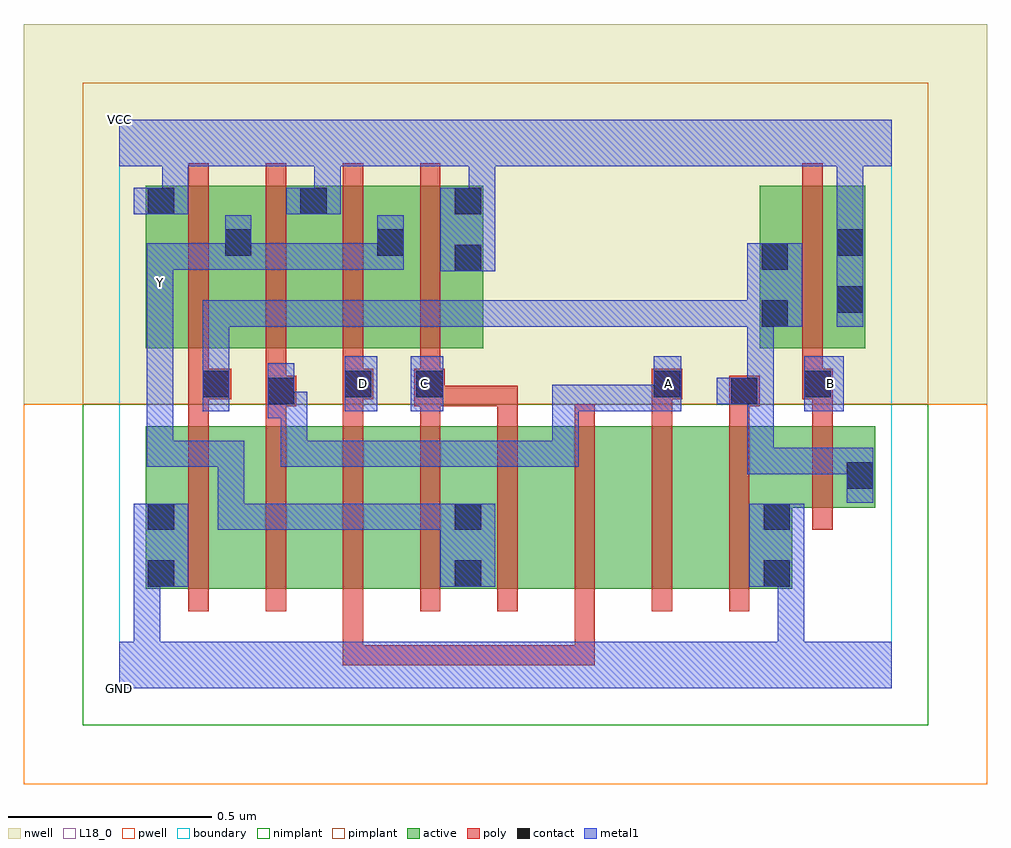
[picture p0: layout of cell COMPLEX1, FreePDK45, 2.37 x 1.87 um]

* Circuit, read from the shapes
.subckt COMPLEX1 A B C D GND VCC Y
M1 n1 n2 GND VSUBS nfet w=0.4u l=0.05u
M2 n3 A n1 VSUBS nfet w=0.4u l=0.05u
M3 n4 D n3 VSUBS nfet w=0.4u l=0.05u
M4 Y C n4 VSUBS nfet w=0.4u l=0.05u
M5 n5 C Y VSUBS nfet w=0.4u l=0.05u
M6 n6 D n5 VSUBS nfet w=0.4u l=0.05u
M7 n7 A n6 VSUBS nfet w=0.4u l=0.05u
M8 GND n2 n7 VSUBS nfet w=0.4u l=0.05u
M9 n2 B GND VSUBS nfet w=0.2u l=0.05u
M10 Y n2 VCC n8 pfet w=0.4u l=0.05u
M11 VCC A Y n8 pfet w=0.4u l=0.05u
M12 Y D VCC n8 pfet w=0.4u l=0.05u
M13 VCC C Y n8 pfet w=0.4u l=0.05u
M14 VCC B n2 n8 pfet w=0.4u l=0.05u
.ends

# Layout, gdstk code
import gdstk
lib = gdstk.Library(unit=1e-6, precision=1e-09)
def R(c, l, rs):  # rectangles x0, y0, x1, y1
    for r in rs: c.add(gdstk.rectangle(r[:2], r[2:], *l))
def A(c, l, x, y, w, h, nx, ny, dx, dy):  # array of equal rectangles
    R(c, l, [(x+i*dx, y+j*dy, x+i*dx+w, y+j*dy+h) for i in range(nx) for j in range(ny)])
active = (1, 0)
pwell = (2, 0)
nwell = (3, 0)
nimplant = (4, 0)
pimplant = (5, 0)
poly = (9, 0)
contact = (10, 0)
metal1 = (11, 0)
L18_0 = (18, 0)
boundary = (235, 0)

complex1 = lib.new_cell('COMPLEX1')
R(complex1, active, [(0.065,0.245,0.29,0.645), (0.065,0.245,0.14,0.645), (0.29,0.245,0.48,0.645), (0.48,0.245,0.67,0.645), (0.67,0.245,0.895,0.645), (0.82,0.245,1.05,0.645), (0.82,0.245,0.895,0.617), (1.05,0.245,1.24,0.645), (1.24,0.245,1.43,0.645), (1.43,0.245,1.655,0.645), (1.58,0.245,1.655,0.535), (1.58,0.445,1.86,0.645), (1.785,0.445,1.86,0.645), (0.065,0.837,0.14,1.237), (0.065,0.837,0.33,1.237), (0.255,0.837,0.515,1.237), (0.44,0.837,0.705,1.237), (0.63,0.837,0.895,1.237), (0.82,0.837,0.895,1.237), (1.575,0.837,1.835,1.237), (1.575,0.837,1.65,1.155), (1.76,0.837,1.835,1.237), (0.255,0.907,0.33,1.2), (0.44,0.907,0.515,1.237), (0.63,0.907,0.705,1.2)])
R(complex1, pwell, [(-0.235,-0.235,2.135,0.7)])
R(complex1, nwell, [(-0.235,0.7,2.135,1.635)])
R(complex1, nimplant, [(-0.09,-0.09,1.99,0.7)])
R(complex1, pimplant, [(-0.09,0.7,1.99,1.49)])
A(complex1, poly, 0.17, 0.19, 0.05, 0.51, 8, 1, 0.19, 0)
A(complex1, poly, 0.17, 0.782, 0.05, 0.51, 4, 1, 0.19, 0)
R(complex1, poly, [(0.55,0.057,0.6,0.24), (0.55,0.057,0.6,0.107), (0.55,0.057,0.6,0.107), (0.55,0.057,0.6,0.107), (0.55,0.057,0.8,0.107), (0.75,0.057,0.8,0.107), (0.75,0.057,0.932,0.107), (0.882,0.057,0.932,0.107), (0.882,0.057,0.932,0.107), (0.882,0.057,0.932,0.107), (0.882,0.057,1.17,0.107), (1.12,0.057,1.17,0.24), (1.12,0.057,1.17,0.107), (1.12,0.057,1.17,0.107), (1.12,0.057,1.17,0.107), (1.705,0.39,1.755,0.7), (0.17,0.65,0.22,0.762), (0.36,0.65,0.41,0.745), (0.55,0.65,0.6,0.762), (0.74,0.65,0.79,0.745), (0.93,0.65,0.98,0.745), (1.31,0.65,1.36,0.762), (1.5,0.65,1.55,0.745), (1.705,0.65,1.755,0.762), (0.36,0.695,0.435,0.77), (0.725,0.695,0.8,0.787), (0.75,0.695,0.98,0.745), (0.93,0.695,0.98,0.745), (0.93,0.695,0.98,0.745), (0.93,0.695,0.98,0.745), (1.5,0.695,1.575,0.77), (0.17,0.712,0.275,0.787), (0.55,0.712,0.625,0.787), (1.31,0.712,1.385,0.787), (1.68,0.712,1.755,0.787), (0.36,0.72,0.41,0.832), (0.17,0.737,0.22,0.832), (0.55,0.737,0.6,0.832), (0.74,0.737,0.79,0.832), (1.68,0.737,1.73,0.832), (1.68,0.782,1.73,1.292)])
R(complex1, contact, [(0.07,0.25,0.135,0.315), (0.825,0.25,0.89,0.315), (1.585,0.25,1.65,0.315), (0.07,0.39,0.135,0.455), (0.825,0.39,0.89,0.455), (1.585,0.39,1.65,0.455), (1.79,0.492,1.855,0.557), (0.365,0.7,0.43,0.765), (1.505,0.7,1.57,0.765), (0.205,0.717,0.27,0.782), (0.555,0.717,0.62,0.782), (0.73,0.717,0.795,0.782), (1.315,0.717,1.38,0.782), (1.685,0.717,1.75,0.782), (1.58,0.89,1.645,0.955), (1.765,0.925,1.83,0.99), (0.825,1.027,0.89,1.092), (1.58,1.03,1.645,1.095), (0.26,1.065,0.325,1.13), (0.635,1.065,0.7,1.13), (1.765,1.065,1.83,1.13), (0.07,1.167,0.135,1.232), (0.445,1.167,0.51,1.232), (0.825,1.167,0.89,1.232)])
R(complex1, metal1, [(0,0,1.9,0.115), (0.035,0.05,0.1,0.315), (1.62,0.05,1.685,0.315), (0.035,0.25,0.1,0.315), (0.035,0.25,0.1,0.315), (0.035,0.25,0.17,0.455), (0.79,0.25,0.925,0.455), (1.55,0.25,1.685,0.455), (1.62,0.25,1.685,0.315), (1.62,0.25,1.685,0.315), (0.242,0.39,0.307,0.455), (0.242,0.39,0.462,0.455), (0.242,0.39,0.307,0.61), (0.397,0.39,0.462,0.455), (0.397,0.39,0.462,0.455), (0.397,0.39,0.462,0.455), (0.397,0.39,0.6,0.455), (0.535,0.39,0.6,0.455), (0.535,0.39,0.6,0.455), (0.535,0.39,0.6,0.455), (0.535,0.39,0.855,0.455), (0.79,0.39,0.855,0.455), (0.79,0.39,0.855,0.455), (1.79,0.457,1.855,0.592), (1.545,0.527,1.61,0.592), (1.545,0.527,1.855,0.592), (1.545,0.527,1.61,0.765), (1.79,0.527,1.855,0.592), (1.79,0.527,1.855,0.592), (0.067,0.545,0.132,0.61), (0.067,0.545,0.132,0.61), (0.067,0.545,0.132,0.61), (0.067,0.545,0.307,0.61), (0.067,0.545,0.132,0.997), (0.242,0.545,0.307,0.61), (0.397,0.545,0.462,0.61), (0.397,0.545,0.6,0.61), (0.397,0.545,0.462,0.73), (0.535,0.545,0.6,0.61), (0.535,0.545,0.6,0.61), (0.535,0.545,0.6,0.61), (0.535,0.545,0.782,0.61), (0.717,0.545,0.782,0.61), (0.717,0.545,0.782,0.61), (0.717,0.545,0.782,0.61), (0.717,0.545,0.992,0.61), (0.927,0.545,0.992,0.61), (0.927,0.545,1.13,0.61), (1.065,0.545,1.13,0.61), (1.065,0.545,1.13,0.747), (0.365,0.665,0.43,0.8), (0.365,0.665,0.462,0.73), (0.397,0.665,0.462,0.73), (0.205,0.682,0.27,0.817), (0.555,0.682,0.635,0.817), (0.717,0.682,0.797,0.817), (1.065,0.682,1.13,0.747), (1.065,0.682,1.13,0.747), (1.065,0.682,1.13,0.747), (1.065,0.682,1.267,0.747), (1.202,0.682,1.267,0.747), (1.202,0.682,1.38,0.747), (1.315,0.682,1.382,0.817), (1.685,0.682,1.782,0.817), (1.47,0.7,1.605,0.765), (1.54,0.7,1.605,0.765), (1.54,0.7,1.61,0.765), (1.545,0.7,1.61,0.955), (0.205,0.752,0.27,0.817), (0.205,0.752,0.27,0.817), (0.205,0.752,0.27,0.955), (0.205,0.89,0.27,0.955), (0.205,0.89,0.462,0.955), (0.397,0.89,0.462,0.955), (0.397,0.89,0.462,0.955), (0.397,0.89,0.462,0.955), (0.397,0.89,0.645,0.955), (0.58,0.89,0.645,0.955), (0.58,0.89,0.645,0.955), (0.58,0.89,0.645,0.955), (0.58,0.89,0.855,0.955), (0.79,0.89,0.855,0.955), (0.79,0.89,0.992,0.955), (0.927,0.89,0.992,0.955), (0.927,0.89,0.992,0.955), (0.927,0.89,0.992,0.955), (0.927,0.89,1.13,0.955), (1.065,0.89,1.13,0.955), (1.065,0.89,1.13,0.955), (1.065,0.89,1.13,0.955), (1.065,0.89,1.33,0.955), (1.265,0.89,1.33,0.955), (1.265,0.89,1.33,0.955), (1.265,0.89,1.33,0.955), (1.265,0.89,1.467,0.955), (1.402,0.89,1.467,0.955), (1.402,0.89,1.61,0.955), (1.545,0.89,1.61,0.955), (1.545,0.89,1.61,0.955), (1.545,0.89,1.68,1.095), (1.765,0.89,1.83,1.165), (0.067,0.932,0.132,1.067), (0.067,1.002,0.132,1.067), (0.067,1.002,0.132,1.067), (0.067,1.002,0.132,1.095), (0.79,1.027,0.925,1.232), (0.067,1.03,0.132,1.095), (0.067,1.03,0.132,1.095), (0.067,1.03,0.132,1.095), (0.067,1.03,0.325,1.095), (0.26,1.03,0.325,1.165), (0.26,1.03,0.462,1.095), (0.397,1.03,0.462,1.095), (0.397,1.03,0.462,1.095), (0.397,1.03,0.462,1.095), (0.397,1.03,0.645,1.095), (0.58,1.03,0.645,1.095), (0.58,1.03,0.7,1.095), (0.635,1.03,0.7,1.165), (1.765,1.1,1.83,1.35), (0.035,1.167,0.17,1.232), (0.105,1.167,0.17,1.35), (0.41,1.167,0.545,1.232), (0.48,1.167,0.545,1.35), (0.86,1.167,0.925,1.35), (0,1.285,1.9,1.4)])
R(complex1, L18_0, [(0,0,1.9,0.115), (0.035,0.05,0.1,0.315), (1.62,0.05,1.685,0.315), (0.035,0.25,0.1,0.315), (0.035,0.25,0.1,0.315), (0.035,0.25,0.17,0.455), (0.79,0.25,0.925,0.455), (1.55,0.25,1.685,0.455), (1.62,0.25,1.685,0.315), (1.62,0.25,1.685,0.315), (0.242,0.39,0.307,0.455), (0.242,0.39,0.307,0.61), (0.242,0.39,0.462,0.455), (0.397,0.39,0.462,0.455), (0.397,0.39,0.462,0.455), (0.397,0.39,0.462,0.455), (0.397,0.39,0.6,0.455), (0.535,0.39,0.6,0.455), (0.535,0.39,0.6,0.455), (0.535,0.39,0.6,0.455), (0.535,0.39,0.855,0.455), (0.79,0.39,0.855,0.455), (0.79,0.39,0.855,0.455), (0.067,0.545,0.132,0.61), (0.067,0.545,0.132,0.61), (0.067,0.545,0.132,0.61), (0.067,0.545,0.132,0.997), (0.067,0.545,0.307,0.61), (0.242,0.545,0.307,0.61), (0.397,0.545,0.462,0.61), (0.397,0.545,0.462,0.73), (0.397,0.545,0.6,0.61), (0.535,0.545,0.6,0.61), (0.535,0.545,0.6,0.61), (0.535,0.545,0.6,0.61), (0.535,0.545,0.782,0.61), (0.717,0.545,0.782,0.61), (0.717,0.545,0.782,0.61), (0.717,0.545,0.782,0.61), (0.717,0.545,0.992,0.61), (0.927,0.545,0.992,0.61), (0.927,0.545,1.13,0.61), (1.065,0.545,1.13,0.61), (1.065,0.545,1.13,0.747), (0.365,0.665,0.43,0.8), (0.365,0.665,0.462,0.73), (0.397,0.665,0.462,0.73), (0.555,0.682,0.635,0.817), (0.717,0.682,0.797,0.817), (1.065,0.682,1.13,0.747), (1.065,0.682,1.13,0.747), (1.065,0.682,1.13,0.747), (1.065,0.682,1.267,0.747), (1.202,0.682,1.267,0.747), (1.202,0.682,1.38,0.747), (1.315,0.682,1.382,0.817), (1.685,0.682,1.782,0.817), (0.567,0.717,0.632,0.782), (0.717,0.717,0.782,0.782), (1.317,0.717,1.382,0.782), (1.717,0.717,1.782,0.782), (1.765,0.89,1.83,1.165), (0.067,0.932,0.132,1.067), (0.067,0.967,0.132,1.032), (0.067,1.002,0.132,1.067), (0.067,1.002,0.132,1.067), (0.067,1.002,0.132,1.095), (0.79,1.027,0.925,1.232), (0.067,1.03,0.132,1.095), (0.067,1.03,0.132,1.095), (0.067,1.03,0.132,1.095), (0.067,1.03,0.325,1.095), (0.26,1.03,0.325,1.165), (0.26,1.03,0.462,1.095), (0.397,1.03,0.462,1.095), (0.397,1.03,0.462,1.095), (0.397,1.03,0.462,1.095), (0.397,1.03,0.645,1.095), (0.58,1.03,0.645,1.095), (0.58,1.03,0.7,1.095), (0.635,1.03,0.7,1.165), (1.765,1.1,1.83,1.35), (0.035,1.167,0.17,1.232), (0.105,1.167,0.17,1.35), (0.41,1.167,0.545,1.232), (0.48,1.167,0.545,1.35), (0.86,1.167,0.925,1.35), (0,1.285,1.9,1.4)])
R(complex1, boundary, [(0,0,1.9,1.4)])
complex1.add(gdstk.Label('A', (1.35,0.75), layer=11, texttype=0))
complex1.add(gdstk.Label('B', (1.75,0.75), layer=11, texttype=0))
complex1.add(gdstk.Label('C', (0.75,0.75), layer=11, texttype=0))
complex1.add(gdstk.Label('D', (0.6,0.75), layer=11, texttype=0))
complex1.add(gdstk.Label('Y', (0.1,1), layer=11, texttype=0))
complex1.add(gdstk.Label('VCC', (0,1.4), layer=11, texttype=0))
complex1.add(gdstk.Label('GND', (0,0), layer=11, texttype=0))

lib.write_gds('COMPLEX1.gds')
